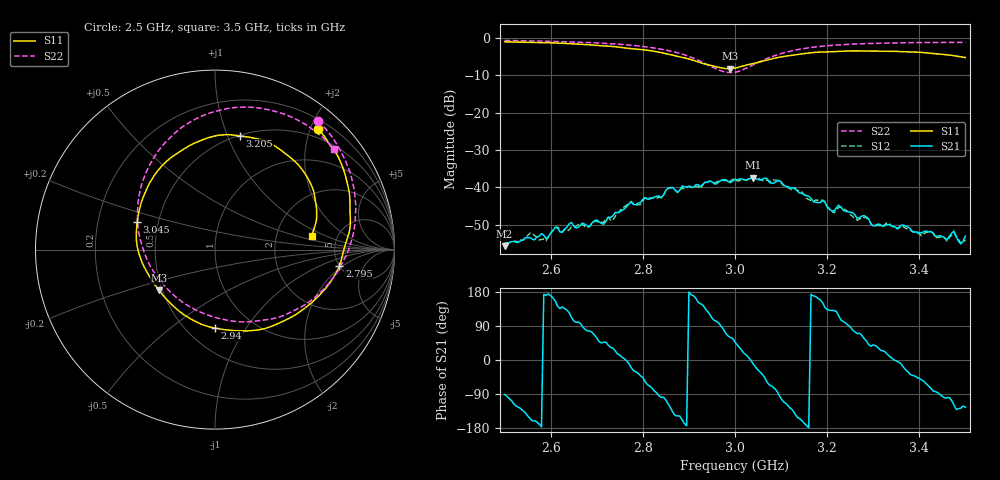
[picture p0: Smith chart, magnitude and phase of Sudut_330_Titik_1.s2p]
# Hz S RI R 50
! CMT, C1220, 16058040, 17.2.0/1
! Date: 15/08/2018 09:50:54
! Data: Format (Calibration Info)
! Freq  S11: Re/Im (F2)  S21: Re/Im (F2)  S12: Re/Im (F2)  S22: Re/Im (F2)
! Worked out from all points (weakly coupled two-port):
!   201 points, 2.5 GHz to 3.5 GHz, reference 50 ohm
!   highest |S21| = -37.36 dB at 3.04 GHz (marker M1); lowest = -55.7 dB at 2.5 GHz (marker M2)
!   lowest |S11| = -8.3 dB at 2.99 GHz (marker M3), VSWR 2.26, Z = 24 - j12.8 ohm
!   |S11| at or under -10 dB: nowhere
!   |S22| runs from -9.3 to -0.7 dB; largest |S21 - S12| = 0.0012
!   S11 on the Smith chart (normalised r, x): 2.5 GHz: 0.35, +2.13; 2.795 GHz: 4.97, -1.79; 2.94 GHz: 0.68, -0.73; 3.045 GHz: 0.38, +0.15; 3.205 GHz: 0.51, +1.11; 3.5 GHz: 3.22, +0.69
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2.5e9  0.5762 0.6698  -2.83e-05 -0.00164  -6.25e-05 -0.00182  0.5755 0.7181
2.555e9  0.6408 0.5828  -0.00191 -0.000929  -0.00215 -0.00119  0.6362 0.6491
2.59e9  0.6862 0.5174  -0.00204 0.000333  -0.00192 0.000175  0.6727 0.5965
2.61e9  0.7032 0.4787  -0.00269 0.00119  -0.00269 0.00118  0.693 0.5621
2.67e9  0.7461 0.3282  0.000198 0.00333  0.000364 0.00315  0.7473 0.4448
2.715e9  0.7531 0.1937  0.00218 0.00236  0.0023 0.00256  0.7758 0.3339
2.77e9  0.7204 0.00879  0.00597 -0.00101  0.00617 -0.0012  0.7816 0.1671
2.795e9  0.6927 -0.0924  0.00471 -0.00418  0.00441 -0.00392  0.768 0.078
2.835e9  0.5953 -0.24  -0.000626 -0.00765  -0.000354 -0.00741  0.7066 -0.079
2.94e9  -0.000443 -0.4371  -0.00728 0.00915  -0.00751 0.00896  0.1737 -0.4029
2.99e9  -0.3121 -0.2268  0.00587 0.00994  0.00599 0.0105  -0.2148 -0.2666
3e9  -0.3585 -0.1604  0.00879 0.00946  0.00935 0.00899  -0.2789 -0.2041
3.04e9  -0.437 0.1179  0.0133 -0.00265  0.0136 -0.00221  -0.4257 0.0978
3.045e9  -0.4338 0.1526  0.0123 -0.00438  0.0131 -0.00446  -0.4312 0.1387
3.105e9  -0.27 0.4918  -0.00363 -0.0101  -0.0038 -0.00987  -0.3251 0.5371
3.17e9  0.00644 0.6349  -0.00636 0.00119  -0.00641 0.000639  -0.0712 0.7451
3.205e9  0.1389 0.6335  -0.00333 0.00382  -0.00312 0.00414  0.0602 0.7841
3.335e9  0.476 0.4584  0.00314 0.000542  0.00327 0.000364  0.4175 0.742
3.46e9  0.5662 0.1767  -0.000335 -0.00197  -0.000369 -0.00188  0.6183 0.6079
3.475e9  0.5586 0.1384  -0.00123 -0.0023  -0.00113 -0.00221  0.6367 0.5894
3.49e9  0.5469 0.1002  -0.00106 -0.0014  -0.00115 -0.00139  0.6537 0.5706
3.5e9  0.5384 0.0758  -0.00127 -0.00183  -0.00123 -0.00156  0.6651 0.5579
